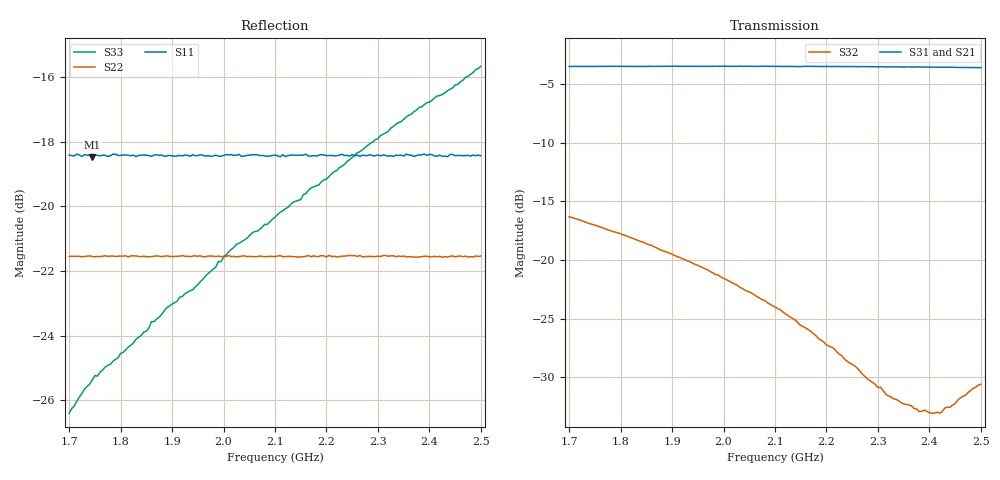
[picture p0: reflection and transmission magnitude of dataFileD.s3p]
# GHz S RI R 50
! S-Parameters data
! Freq  reS11  imS11  reS12  imS12  reS13  imS13
!  reS21  imS21  reS22  imS22  reS23  imS23
!  reS31  imS31  reS32  imS32  reS33  imS33
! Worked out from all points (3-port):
!   161 points, 1.7 GHz to 2.5 GHz, reference 50 ohm
!   strongest paths, dB at 1.7 GHz, 1.9 GHz, 2.1 GHz, 2.3 GHz, 2.5 GHz:
!     S31: -3.5, -3.5, -3.5, -3.5, -3.6
!     S21: -3.7, -3.7, -3.7, -3.7, -3.7
!     S32: -16.3, -19.5, -24.0, -30.9, -30.6
!   lowest |S11| = -18.5 dB at 1.745 GHz (marker M1), VSWR 1.27, Z = 48.6 + j11.8 ohm
!   |S11| at or under -10 dB: start of sweep to end of sweep
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1.7  -0.000437 0.1201  0.1557 -0.6341  0.3093 -0.5933
     0.1559 -0.6342  0.0508 -0.0665  0.0668 -0.1373
     0.3097 -0.5936  0.0666 -0.1375  0.0323 -0.0353
1.745  1.26e-05 0.1192  0.1556 -0.6343  0.2892 -0.6041
       0.1563 -0.6338  0.0507 -0.0665  0.0606 -0.128
       0.2897 -0.6038  0.0607 -0.1282  0.0352 -0.0409
1.95  -0.000274 0.1199  0.1553 -0.6341  0.1919 -0.6425
      0.1558 -0.6352  0.0508 -0.0666  0.0407 -0.0855
      0.1921 -0.6422  0.0407 -0.0858  0.0428 -0.0625
2.1  -0.000218 0.1201  0.1558 -0.6346  0.1145 -0.66
     0.1554 -0.6345  0.0507 -0.0665  0.0315 -0.0542
     0.1145 -0.6607  0.0316 -0.0544  0.0528 -0.0805
2.255  -2.24e-05 0.1198  0.1552 -0.6356  0.0304 -0.6666
       0.1559 -0.6349  0.0509 -0.0667  0.026 -0.024
       0.031 -0.668  0.026 -0.0238  0.0622 -0.1028
2.31  -0.000662 0.1202  0.1558 -0.6342  -0.000434 -0.666
      0.1557 -0.6345  0.0508 -0.0668  0.0243 -0.0137
      0.000103 -0.6677  0.0242 -0.0136  0.0656 -0.1115
2.32  -0.000321 0.1196  0.157 -0.635  -0.0058 -0.6668
      0.1552 -0.6344  0.0508 -0.0666  0.0235 -0.0111
      -0.00575 -0.6668  0.0238 -0.0112  0.0661 -0.1127
2.38  -0.000686 0.1201  0.1555 -0.6342  -0.0396 -0.6641
      0.1559 -0.6336  0.0507 -0.0665  0.0228 -0.000913
      -0.0399 -0.6655  0.0225 -0.000983  0.0702 -0.1238
2.42  -0.000722 0.12  0.1553 -0.634  -0.0629 -0.661
      0.1564 -0.6339  0.0507 -0.0666  0.0214 0.00634
      -0.0617 -0.6621  0.0213 0.00638  0.0711 -0.1303
2.5  -0.000426 0.1197  0.1554 -0.6356  -0.108 -0.6529
     0.1555 -0.6341  0.0509 -0.0666  0.021 0.0205
     -0.1069 -0.6531  0.0212 0.0205  0.0753 -0.1466
